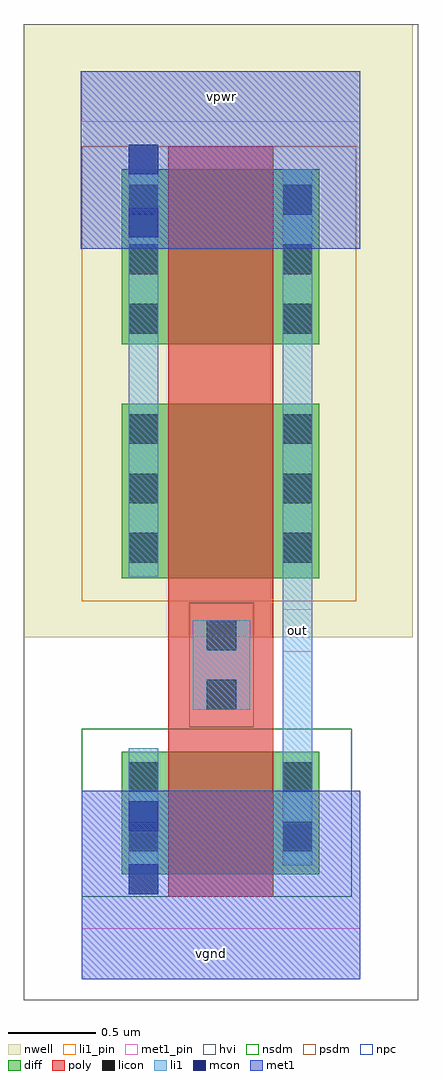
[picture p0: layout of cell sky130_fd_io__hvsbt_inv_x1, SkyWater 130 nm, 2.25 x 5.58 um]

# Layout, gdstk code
from math import pi, radians
import gdstk
lib = gdstk.Library(unit=1e-6, precision=1e-09)
def R(c, l, rs):  # rectangles x0, y0, x1, y1
    for r in rs: c.add(gdstk.rectangle(r[:2], r[2:], *l))
def A(c, l, x, y, w, h, nx, ny, dx, dy):  # array of equal rectangles
    R(c, l, [(x+i*dx, y+j*dy, x+i*dx+w, y+j*dy+h) for i in range(nx) for j in range(ny)])
nwell = (64, 20)
diff = (65, 20)
poly = (66, 20)
licon = (66, 44)
li1_pin = (67, 16)
li1 = (67, 20)
mcon = (67, 44)
met1_pin = (68, 16)
met1 = (68, 20)
hvi = (75, 20)
nsdm = (93, 44)
psdm = (94, 20)
npc = (95, 20)

l1m1_cdns_5246887918527 = lib.new_cell('L1M1_CDNS_5246887918527')
R(l1m1_cdns_5246887918527, li1, [(0,0,0.53,0.17)])
R(l1m1_cdns_5246887918527, mcon, [(0,0,0.17,0.17), (0.36,0,0.53,0.17)])
R(l1m1_cdns_5246887918527, met1, [(-0.06,-0.03,0.59,0.2)])

pyl1_cdns_5246887918526 = lib.new_cell('PYL1_CDNS_5246887918526')
R(pyl1_cdns_5246887918526, poly, [(0,0,0.67,0.33)])
R(pyl1_cdns_5246887918526, licon, [(0.08,0.08,0.25,0.25), (0.42,0.08,0.59,0.25)])
R(pyl1_cdns_5246887918526, li1, [(0.08,0,0.59,0.33)])
R(pyl1_cdns_5246887918526, npc, [(-0.02,-0.02,0.69,0.35)])

hvdfl1sd_cdns_5246887918 = lib.new_cell('hvDFL1sd_CDNS_5246887918587')
R(hvdfl1sd_cdns_5246887918, diff, [(0,0,0.265,0.7)])
R(hvdfl1sd_cdns_5246887918, licon, [(0.055,0.06,0.225,0.23), (0.055,0.4,0.225,0.57)])
R(hvdfl1sd_cdns_5246887918, li1, [(0.055,-0.02,0.225,0.65)])
R(hvdfl1sd_cdns_5246887918, nsdm, [(-0.13,-0.13,0.395,0.83)])

hvntran_cdns_52468879185 = lib.new_cell('hvnTran_CDNS_5246887918586')
R(hvntran_cdns_52468879185, diff, [(-0.25,0,0,0.7), (0,0,0.6,0.7), (0.6,0,0.85,0.7)])
R(hvntran_cdns_52468879185, poly, [(0,-0.13,0.6,0), (0,-0.13,0.6,0.83), (0,0.7,0.6,0.83)])
R(hvntran_cdns_52468879185, li1, [(-0.225,-0.02,-0.055,0.65), (0.655,-0.02,0.825,0.65)])
R(hvntran_cdns_52468879185, hvi, [(-0.445,-0.18,1.045,0.88)])
R(hvntran_cdns_52468879185, nsdm, [(-0.395,-0.13,0.13,0.83), (-0.25,-0.13,0.85,0.83), (0.47,-0.13,0.995,0.83)])
hvntran_cdns_52468879185.add(gdstk.Reference(hvdfl1sd_cdns_5246887918, (0.6,0)))
hvntran_cdns_52468879185.add(gdstk.Reference(hvdfl1sd_cdns_5246887918, (0,0), rotation=pi, x_reflection=True))
hvntran_cdns_52468879185.add(gdstk.Label('S', (-0.14,0.315), layer=83, texttype=44))
hvntran_cdns_52468879185.add(gdstk.Label('D', (0.74,0.315), layer=83, texttype=44))

dfl1sd_cdns_524688791852 = lib.new_cell('DFL1sd_CDNS_5246887918529')
R(dfl1sd_cdns_524688791852, nwell, [(-0.18,-0.18,0.445,1.18)])
R(dfl1sd_cdns_524688791852, diff, [(0,0,0.265,1)])
A(dfl1sd_cdns_524688791852, licon, 0.055, 0.06, 0.17, 0.17, 1, 3, 0, 0.34)
R(dfl1sd_cdns_524688791852, li1, [(0.055,-0.02,0.225,0.99)])
R(dfl1sd_cdns_524688791852, psdm, [(-0.13,-0.13,0.395,1.13)])

c_hvdfl1sd_cdns_5246887918 = lib.new_cell('hvDFL1sd_CDNS_5246887918589')
R(c_hvdfl1sd_cdns_5246887918, nwell, [(-0.18,-0.18,0.445,1.18)])
R(c_hvdfl1sd_cdns_5246887918, diff, [(0,0,0.265,1)])
A(c_hvdfl1sd_cdns_5246887918, licon, 0.055, 0.06, 0.17, 0.17, 1, 3, 0, 0.34)
R(c_hvdfl1sd_cdns_5246887918, li1, [(0.055,-0.02,0.225,0.99)])
R(c_hvdfl1sd_cdns_5246887918, psdm, [(-0.13,-0.13,0.395,1.13)])

hvptran_cdns_52468879185 = lib.new_cell('hvpTran_CDNS_5246887918588')
R(hvptran_cdns_52468879185, nwell, [(-0.595,-0.33,1.195,1.33)])
R(hvptran_cdns_52468879185, diff, [(-0.25,0,0,1), (0,0,0.6,1), (0.6,0,0.85,1)])
R(hvptran_cdns_52468879185, poly, [(0,-0.13,0.6,0), (0,-0.13,0.6,1.13), (0,1,0.6,1.13)])
R(hvptran_cdns_52468879185, li1, [(-0.225,-0.02,-0.055,0.99), (0.655,-0.02,0.825,0.99)])
R(hvptran_cdns_52468879185, hvi, [(-0.595,-0.33,1.195,1.33)])
R(hvptran_cdns_52468879185, psdm, [(-0.25,-0.13,0.85,1.13), (-0.245,0.02,-0.02,0.98), (0.62,0.02,0.845,0.98)])
hvptran_cdns_52468879185.add(gdstk.Reference(dfl1sd_cdns_524688791852, (0.6,0)))
hvptran_cdns_52468879185.add(gdstk.Reference(c_hvdfl1sd_cdns_5246887918, (0,0), rotation=pi, x_reflection=True))
hvptran_cdns_52468879185.add(gdstk.Label('S', (-0.14,0.485), layer=83, texttype=44))
hvptran_cdns_52468879185.add(gdstk.Label('D', (0.74,0.485), layer=83, texttype=44))

sky130_fd_io__hvsbt_inv_ = lib.new_cell('sky130_fd_io__hvsbt_inv_x1')
R(sky130_fd_io__hvsbt_inv_, nwell, [(-0.23,2.075,1.995,5.58)])
R(sky130_fd_io__hvsbt_inv_, poly, [(0.595,1.55,1.195,2.48), (0.595,3.54,1.195,3.62)])
R(sky130_fd_io__hvsbt_inv_, li1_pin, [(1.25,1.99,1.42,2.235)])
R(sky130_fd_io__hvsbt_inv_, li1, [(1.25,1.435,1.42,4.75), (0.37,2.59,0.54,4.74), (0.37,4.295,0.54,4.89)])
R(sky130_fd_io__hvsbt_inv_, met1_pin, [(0.1,0.12,1.695,0.41), (0.1,5.02,1.695,5.31)])
R(sky130_fd_io__hvsbt_inv_, met1, [(0.1,0.12,1.695,1.195), (0.095,4.295,1.695,5.31)])
R(sky130_fd_io__hvsbt_inv_, hvi, [(-0.23,0,2.025,5.58)])
R(sky130_fd_io__hvsbt_inv_, nsdm, [(0.1,0.59,1.645,1.55)])
R(sky130_fd_io__hvsbt_inv_, psdm, [(0.1,2.28,1.67,4.88)])
sky130_fd_io__hvsbt_inv_.add(gdstk.Reference(l1m1_cdns_5246887918527, (0.54,4.36), rotation=pi/2))
sky130_fd_io__hvsbt_inv_.add(gdstk.Reference(l1m1_cdns_5246887918527, (0.54,1.135), rotation=3*pi/2, x_reflection=True))
sky130_fd_io__hvsbt_inv_.add(gdstk.Reference(pyl1_cdns_5246887918526, (1.065,2.25), rotation=3*pi/2, x_reflection=True))
sky130_fd_io__hvsbt_inv_.add(gdstk.Reference(hvntran_cdns_52468879185, (0.595,1.42), x_reflection=True))
sky130_fd_io__hvsbt_inv_.add(gdstk.Reference(hvptran_cdns_52468879185, (0.595,3.75)))
sky130_fd_io__hvsbt_inv_.add(gdstk.Reference(hvptran_cdns_52468879185, (0.595,3.41), x_reflection=True))
sky130_fd_io__hvsbt_inv_.add(gdstk.Label('vgnd', (0.845,0.265), layer=68, texttype=5))
sky130_fd_io__hvsbt_inv_.add(gdstk.Label('vpwr', (0.9,5.165), layer=68, texttype=5))
sky130_fd_io__hvsbt_inv_.add(gdstk.Label('out', (1.335,2.11), layer=67, texttype=5))
sky130_fd_io__hvsbt_inv_.add(gdstk.Label('out', (1.335,2.11), layer=67, texttype=5))
sky130_fd_io__hvsbt_inv_.add(gdstk.Label('out', (1.335,2.11), layer=67, texttype=5))

lib.write_gds('sky130_fd_io__hvsbt_inv_x1.gds')
